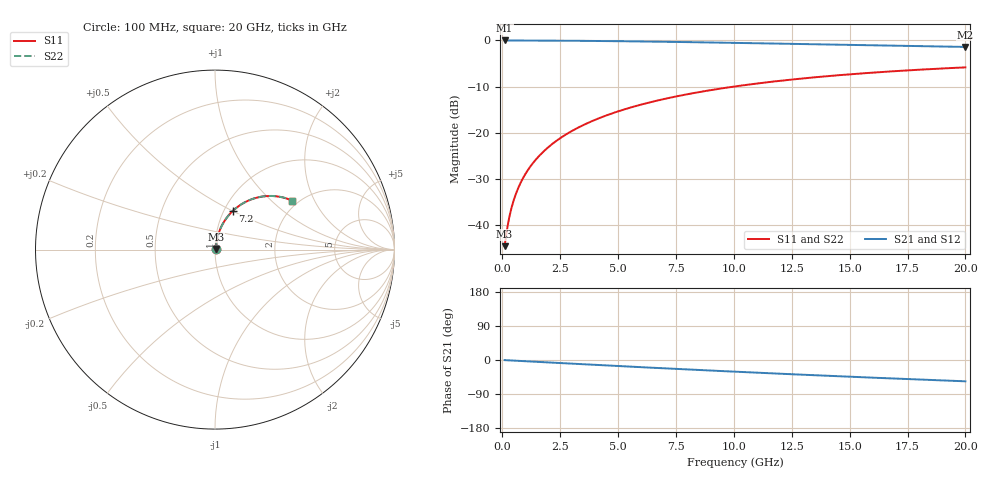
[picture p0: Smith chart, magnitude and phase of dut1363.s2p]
! Touchstone file exported from HFSS 2026.1.0
!  File:  C:/ffzhzh/LocalFiles/Ansys_Project_Files/temp_train_BSMRDL_1363_1783179223_18472.aedt
!  Generated:  11:35:10 PM Jul  4, 2026
!  Design:  BSMRDL
!  Project:  temp_train_BSMRDL_1363_1783179223_18472
! Variables:
!  h_bsmrdl = 3.3um
!  h_ox = 20um
!  h_rdl = 5um
!  h_sub = 80um
!  h_tmrdl = 5um
!  h_tsv = 80um
!  h_via = 3um
!  l_bsmrdl = 846.21um
!  l_sub = 1246.21um
!  l_tmrdl = 200um
!  m_sub = 200um
!  pitch = 51.37um
!  r_tsv = 6um
!  s_tmrdl = 10um
!  w_bsmrdl = 20.42um
!  w_sub = 500um
!  w_tmrdl = 12um
!  x_tsv_center1 = 206um
!  x_tsv_center2 = 1072.63um
!  x_tsv_center3 = 1284.63um
!  x_tsv_center4 = 2151.26um
!  x_tsv_center5 = 2363.26um
!  x_tsv_center6 = 3229.89um
# GHz S MA R 50.000000
! Terminal data exported
! Port[1] = BSM_RDL1_1_T1
! Port[2] = BSM_RDL1_1_T2
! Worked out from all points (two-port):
!   200 points, 100 MHz to 20 GHz, reference 50 ohm
!   highest |S21| = -0.04 dB at 100 MHz (marker M1); lowest = -1.4 dB at 20 GHz (marker M2)
!   |S21| within 3 dB of the highest: start of sweep to end of sweep
!   lowest |S11| = -44.5 dB at 100 MHz (marker M3), VSWR 1.01, Z = 50.5 + j0.381 ohm
!   |S11| at or under -10 dB: start of sweep to 10.02 GHz
!   |S22| runs from -44.5 to -5.9 dB; largest |S21 - S12| = 3.1e-15
!   S11 on the Smith chart (normalised r, x): 100 MHz: 1.01, +0.01; 7.2 GHz: 1.10, +0.50; 20 GHz: 1.86, +1.37
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0.1  0.00596 39.3  0.9954 -0.3  0.9954 -0.3  0.00596 39.3
! Gamma 0 0 0 0
! Port Impedance 50 0 50 0
0.2  0.008903 57.0  0.9952 -0.7  0.9952 -0.7  0.008903 57.0
0.3  0.0122 65.0  0.995 -1.0  0.995 -1.0  0.0122 65.0
0.4  0.01556 69.4  0.9948 -1.3  0.9948 -1.3  0.01556 69.4
0.5  0.01894 72.1  0.9945 -1.6  0.9945 -1.6  0.01894 72.1
0.6  0.02233 74.0  0.9944 -2.0  0.9944 -2.0  0.02233 74.0
0.8  0.02914 76.3  0.994 -2.6  0.994 -2.6  0.02914 76.3
1.1  0.03941 78.0  0.9935 -3.6  0.9935 -3.6  0.03941 78.0
1.3  0.04629 78.5  0.9931 -4.2  0.9931 -4.2  0.04629 78.5
1.6  0.05662 78.8  0.9924 -5.2  0.9924 -5.2  0.05662 78.8
2.1  0.07381 78.4  0.9911 -6.8  0.9911 -6.8  0.07381 78.4
2.7  0.09432 77.4  0.9891 -8.7  0.9891 -8.7  0.09432 77.4
3.5  0.1213 75.5  0.9857 -11.2  0.9857 -11.2  0.1213 75.5
4.2  0.1445 73.7  0.9822 -13.4  0.9822 -13.4  0.1445 73.7
5  0.1705 71.4  0.9775 -15.9  0.9775 -15.9  0.1705 71.5
6.8  0.2263 66.3  0.9649 -21.4  0.9649 -21.4  0.2263 66.3
7.2  0.2382 65.2  0.9618 -22.6  0.9618 -22.6  0.2382 65.2
8.6  0.2783 61.2  0.9503 -26.7  0.9503 -26.7  0.2783 61.2
10.1  0.3184 57.0  0.9369 -31.0  0.9369 -31.0  0.3184 57.1
13.4  0.396 48.3  0.906 -40.0  0.906 -40.0  0.396 48.3
16.7  0.4594 40.1  0.8754 -48.4  0.8754 -48.4  0.4594 40.1
20  0.5096 32.4  0.8474 -56.2  0.8474 -56.2  0.5096 32.4
